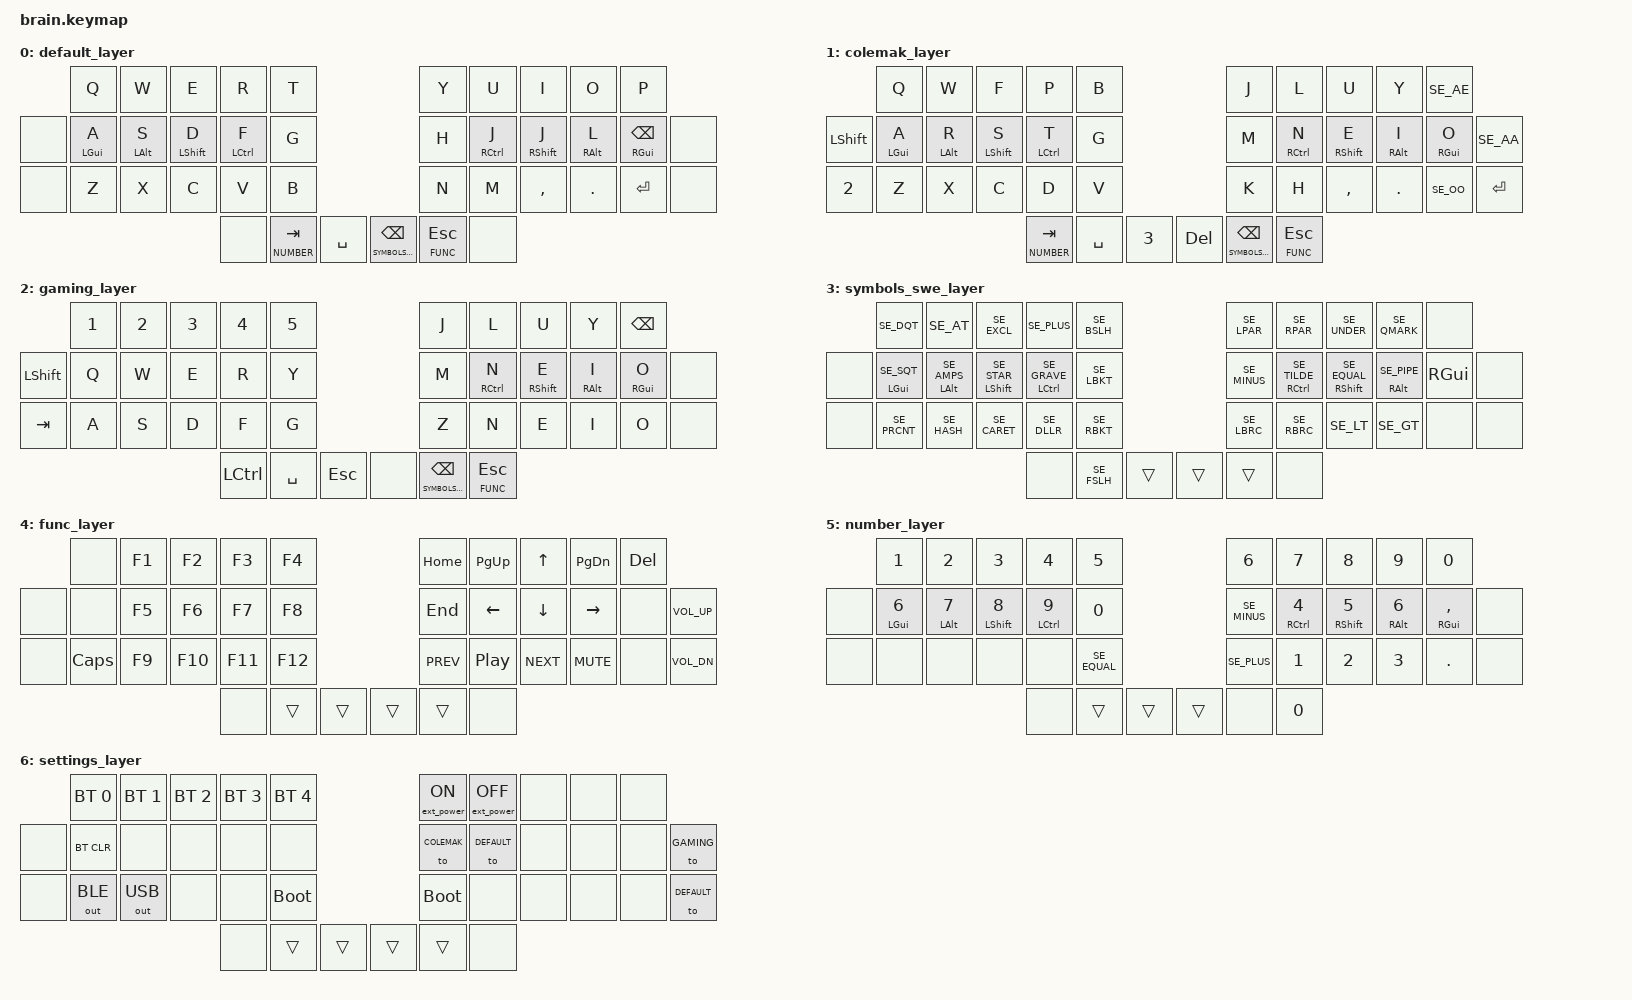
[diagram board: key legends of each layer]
/*
 * Copyright (c) 2020 The ZMK Contributors
 *
 * SPDX-License-Identifier: MIT
 */

#include <behaviors.dtsi>
#include <dt-bindings/zmk/keys.h>
#include <dt-bindings/zmk/bt.h>
#include <dt-bindings/zmk/outputs.h>
#include <dt-bindings/zmk/ext_power.h>
#include "swe_keys.h"

#define DEFAULT     0
#define COLEMAK     1
#define GAMING      2
#define SYMBOLS_SWE 3
#define FUNC        4
#define NUMBER      5
#define SETTINGS    6

/ {
    behaviors {
        hm: homerow_mods {
            compatible = "zmk,behavior-hold-tap";
            label = "HOMEROW_MODS";
            #binding-cells = <2>;
            tapping-term-ms = <200>;
            quick-tap-ms = <0>;
            flavor = "tap-preferred";
            bindings = <&kp>, <&kp>;
        };
        hs: homerow_mods_slow {
            compatible = "zmk,behavior-hold-tap";
            label = "HOMEROW_MODS_SLOW";
            #binding-cells = <2>;
            tapping-term-ms = <300>;
            quick-tap-ms = <0>;
            flavor = "tap-preferred";
            bindings = <&kp>, <&kp>;
        };
    };
    cond_layers {
        compatible = "zmk,conditional-layers";
        // Define SETTINGS layer as tri-state
        func_tristate {
            if-layers = <SYMBOLS_SWE FUNC>;
            then-layer = <SETTINGS>;
        };
    };

/*           40 Keys
╭─────────────────╮ ╭─────────────────╮
│    0  1  2  3  4│ │ 5  6  7  8  9   │
│10 11 12 13 14 15│ │16 17 18 19 20 21│
│22 23 24 25 26 27│ │28 29 30 31 32 33│
╰────────╮34 35 36│ │37 38 39╭────────╯
         ╰────────╯ ╰────────╯       */
/*    combos {
        compatible = "zmk,combos";

        combo_esc {
            timeout-ms = <50>;
            key-positions = <0 1>;
            bindings = <&kp ESC>;
        };
        combo_tab {
            timeout-ms = <50>;
            key-positions = <10 11>;
            bindings = <&kp TAB>;
        };
        combo_ralt {
            timeout-ms = <50>;
            key-positions = <17 16>;
            bindings = <&kp RALT>;
        };
        combo_lalt {
            timeout-ms = <50>;
            key-positions = <11 12>;
            bindings = <&kp LALT>;
        };
        combo_lgui {
            timeout-ms = <50>;
            key-positions = <12 13>;
            bindings = <&kp LGUI>;
        };
        combo_rgui {
            timeout-ms = <50>;
            key-positions = <17 18>;
            bindings = <&kp RGUI>;
        };
    }; */

    keymap {
        compatible = "zmk,keymap";

        default_layer {

            bindings = <
//          ┌────────────┬────────────┬────────────┬────────────┬───────────────┐                                 ┌─────────────┬────────────┬────────────┬────────────┬───────────────┐
//          │     Q      │     W      │     E      │     R      │       T       │                                 │      Y      │     U      │     I      │     O      │       P       │
//    ┌─────┼────────────┼────────────┼────────────┼────────────┼───────────────┤                                 ├─────────────┼────────────┼────────────┼────────────┼───────────────┼─────┐
//    │     │ &hs lgui A │ &hm lalt S │ &hm lsft D │ &hm lctl F │       G       │                                 │      H      │ &hm rctl J │ &hm rsft J │ &hm ralt L │ &hs rgui bspc │     │
//    ├─────┼────────────┼────────────┼────────────┼────────────┼───────────────┤                                 ├─────────────┼────────────┼────────────┼────────────┼───────────────┼─────┤
//    │     │     Z      │     X      │     C      │     V      │       B       │                                 │      N      │     M      │     ,      │     .      │      ent      │     │
//    └─────┴────────────┴────────────┴────────────┼────────────┼───────────────┼─────┐   ┌───────────────────────┼─────────────┼────────────┼────────────┴────────────┴───────────────┴─────┘
//                                                 │            │ lt NUMBER tab │ spc │   │ lt SYMBOlsft_SWE bspc │ lt FUNC esc │            │
//                                                 └────────────┴───────────────┴─────┘   └───────────────────────┴─────────────┴────────────┘
          &kp Q        &kp W        &kp E          &kp R         &kp T                                                   &kp Y          &kp U         &kp I          &kp O        &kp P
  &none   &hs LGUI A   &hm LALT S   &hm LSHIFT D   &hm LCTRL F   &kp G                                                   &kp H          &hm RCTRL J   &hm RSHIFT J   &hm RALT L   &hs RGUI BSPC   &none
  &none   &kp Z        &kp X        &kp C          &kp V         &kp B                                                   &kp N          &kp M         &kp COMMA      &kp DOT      &kp ENTER       &none
                                                   &none         &lt NUMBER TAB   &kp SPACE       &lt SYMBOLS_SWE BSPC   &lt FUNC ESC   &none
            >;
        };

        colemak_layer {
            bindings = <
//           ┌────────────┬────────────┬────────────┬───────────────┬─────┐             ┌───────────────────────┬─────────────┬────────────┬────────────┬────────────┐
//           │     Q      │     W      │     F      │       P       │  B  │             │           J           │      L      │     U      │     Y      │   SE_AE    │
//    ┌──────┼────────────┼────────────┼────────────┼───────────────┼─────┤             ├───────────────────────┼─────────────┼────────────┼────────────┼────────────┼───────┐
//    │ lsft │ &hs lgui A │ &hm lalt R │ &hm lsft S │  &hm lctl T   │  G  │             │           M           │ &hm rctl N  │ &hm rsft E │ &hm ralt I │ &hs rgui O │ SE_AA │
//    ├──────┼────────────┼────────────┼────────────┼───────────────┼─────┤             ├───────────────────────┼─────────────┼────────────┼────────────┼────────────┼───────┤
//    │  2   │     Z      │     X      │     C      │       D       │  V  │             │           K           │      H      │     ,      │     .      │   SE_OO    │  ent  │
//    └──────┴────────────┴────────────┴────────────┼───────────────┼─────┼───┐   ┌─────┼───────────────────────┼─────────────┼────────────┴────────────┴────────────┴───────┘
//                                                  │ lt NUMBER tab │ spc │ 3 │   │ del │ lt SYMBOlsft_SWE bspc │ lt FUNC esc │
//                                                  └───────────────┴─────┴───┘   └─────┴───────────────────────┴─────────────┘
               &kp Q        &kp W        &kp F          &kp P            &kp B                              &kp J                  &kp L          &kp U          &kp Y        &kp SE_AE
  &kp LSHIFT   &hs LGUI A   &hm LALT R   &hm LSHIFT S   &hm LCTRL T      &kp G                              &kp M                  &hm RCTRL N    &hm RSHIFT E   &hm RALT I   &hs RGUI O   &kp SE_AA
  &kp N2       &kp Z        &kp X        &kp C          &kp D            &kp V                              &kp K                  &kp H          &kp COMMA      &kp DOT      &kp SE_OO    &kp ENTER
                                                        &lt NUMBER TAB   &kp SPACE   &kp N3       &kp DEL   &lt SYMBOLS_SWE BSPC   &lt FUNC ESC
            >;
        };

        gaming_layer {
            bindings = <
//           ┌───┬───┬───┬──────┬─────┐               ┌───────────────────────┬─────────────┬────────────┬────────────┬────────────┐
//           │ 1 │ 2 │ 3 │  4   │  5  │               │           J           │      L      │     U      │     Y      │    bspc    │
//    ┌──────┼───┼───┼───┼──────┼─────┤               ├───────────────────────┼─────────────┼────────────┼────────────┼────────────┼─────┐
//    │ lsft │ Q │ W │ E │  R   │  Y  │               │           M           │ &hm rctl N  │ &hm rsft E │ &hm ralt I │ &hs rgui O │     │
//    ├──────┼───┼───┼───┼──────┼─────┤               ├───────────────────────┼─────────────┼────────────┼────────────┼────────────┼─────┤
//    │ tab  │ A │ S │ D │  F   │  G  │               │           Z           │      N      │     E      │     I      │     O      │     │
//    └──────┴───┴───┴───┼──────┼─────┼─────┐   ┌─────┼───────────────────────┼─────────────┼────────────┴────────────┴────────────┴─────┘
//                       │ lctl │ spc │ esc │   │     │ lt SYMBOlsft_SWE bspc │ lt FUNC esc │
//                       └──────┴─────┴─────┘   └─────┴───────────────────────┴─────────────┘
               &kp N1   &kp N2   &kp N3   &kp N4      &kp N5                            &kp J                  &kp L          &kp U          &kp Y        &kp BSPC
  &kp LSHIFT   &kp Q    &kp W    &kp E    &kp R       &kp Y                             &kp M                  &hm RCTRL N    &hm RSHIFT E   &hm RALT I   &hs RGUI O   &none
  &kp TAB      &kp A    &kp S    &kp D    &kp F       &kp G                             &kp Z                  &kp N          &kp E          &kp I        &kp O        &none
                                          &kp LCTRL   &kp SPACE   &kp ESC       &none   &lt SYMBOLS_SWE BSPC   &lt FUNC ESC
            >;
        };

        symbols_swe_layer {
            bindings = <
//          ┌───────────────┬───────────────┬───────────────┬───────────────┬──────┐               ┌──────┬───────────────┬───────────────┬───────────────┬──────┐
//          │     SE_"      │     SE_@      │     SE_!      │     SE_+      │ SE_\ │               │ SE_( │     SE_)      │     SE__      │     SE_?      │      │
//    ┌─────┼───────────────┼───────────────┼───────────────┼───────────────┼──────┤               ├──────┼───────────────┼───────────────┼───────────────┼──────┼─────┐
//    │     │ &hs lgui SE_' │ &hm lalt SE_& │ &hm lsft SE_* │ &hm lctl SE_` │ SE_[ │               │ SE_- │ &hm rctl SE_~ │ &hm rsft SE_= │ &hm ralt SE_| │ rgui │     │
//    ├─────┼───────────────┼───────────────┼───────────────┼───────────────┼──────┤               ├──────┼───────────────┼───────────────┼───────────────┼──────┼─────┤
//    │     │     SE_%      │     SE_#      │     SE_^      │     SE_$      │ SE_] │               │ SE_{ │     SE_}      │     SE_<      │     SE_>      │      │     │
//    └─────┴───────────────┴───────────────┴───────────────┼───────────────┼──────┼─────┐   ┌─────┼──────┼───────────────┼───────────────┴───────────────┴──────┴─────┘
//                                                          │               │ SE_/ │     │   │     │      │               │
//                                                          └───────────────┴──────┴─────┘   └─────┴──────┴───────────────┘
          &kp SE_DQT        &kp SE_AT          &kp SE_EXCL          &kp SE_PLUS          &kp SE_BSLH                         &kp SE_LPAR    &kp SE_RPAR          &kp SE_UNDER          &kp SE_QMARK       &none
  &none   &hs LGUI SE_SQT   &hm LALT SE_AMPS   &hm LSHIFT SE_STAR   &hm LCTRL SE_GRAVE   &kp SE_LBKT                         &kp SE_MINUS   &hm RCTRL SE_TILDE   &hm RSHIFT SE_EQUAL   &hm RALT SE_PIPE   &kp RGUI   &none
  &none   &kp SE_PRCNT      &kp SE_HASH        &kp SE_CARET         &kp SE_DLLR          &kp SE_RBKT                         &kp SE_LBRC    &kp SE_RBRC          &kp SE_LT             &kp SE_GT          &none      &none
                                                                    &none                &kp SE_FSLH   &trans       &trans   &trans         &none
            >;
        };

        func_layer {
            bindings = <
//          ┌──────┬────┬─────┬─────┬─────┐               ┌──────┬──────┬──────┬──────┬─────┐
//          │      │ f1 │ f2  │ f3  │ f4  │               │ home │ pgup │  up  │ pgdn │ del │
//    ┌─────┼──────┼────┼─────┼─────┼─────┤               ├──────┼──────┼──────┼──────┼─────┼──────┐
//    │     │      │ f5 │ f6  │ f7  │ f8  │               │ end  │ left │ down │ rght │     │ volu │
//    ├─────┼──────┼────┼─────┼─────┼─────┤               ├──────┼──────┼──────┼──────┼─────┼──────┤
//    │     │ caps │ f9 │ f10 │ f11 │ f12 │               │ prev │ play │ next │ mute │     │ vold │
//    └─────┴──────┴────┴─────┼─────┼─────┼─────┐   ┌─────┼──────┼──────┼──────┴──────┴─────┴──────┘
//                            │     │     │     │   │     │      │      │
//                            └─────┴─────┴─────┘   └─────┴──────┴──────┘
          &none      &kp F1   &kp F2    &kp F3    &kp F4                          &kp HOME     &kp PG_UP   &kp UP       &kp PG_DN    &kp DEL
  &none   &none      &kp F5   &kp F6    &kp F7    &kp F8                          &kp END      &kp LEFT    &kp DOWN     &kp RIGHT    &none     &kp C_VOL_UP
  &none   &kp CAPS   &kp F9   &kp F10   &kp F11   &kp F12                         &kp C_PREV   &kp C_PP    &kp C_NEXT   &kp K_MUTE   &none     &kp C_VOL_DN
                                        &none     &trans    &trans       &trans   &trans       &none
            >;
        };

        number_layer {
            bindings = <
//          ┌────────────┬────────────┬────────────┬────────────┬──────┐               ┌──────┬────────────┬────────────┬────────────┬────────────┐
//          │     1      │     2      │     3      │     4      │  5   │               │  6   │     7      │     8      │     9      │     0      │
//    ┌─────┼────────────┼────────────┼────────────┼────────────┼──────┤               ├──────┼────────────┼────────────┼────────────┼────────────┼─────┐
//    │     │ &hs lgui 6 │ &hm lalt 7 │ &hm lsft 8 │ &hm lctl 9 │  0   │               │ SE_- │ &hm rctl 4 │ &hm rsft 5 │ &hm ralt 6 │ &hm rgui , │     │
//    ├─────┼────────────┼────────────┼────────────┼────────────┼──────┤               ├──────┼────────────┼────────────┼────────────┼────────────┼─────┤
//    │     │            │            │            │            │ SE_= │               │ SE_+ │     1      │     2      │     3      │     .      │     │
//    └─────┴────────────┴────────────┴────────────┼────────────┼──────┼─────┐   ┌─────┼──────┼────────────┼────────────┴────────────┴────────────┴─────┘
//                                                 │            │      │     │   │     │      │     0      │
//                                                 └────────────┴──────┴─────┘   └─────┴──────┴────────────┘
          &kp N1        &kp N2        &kp N3          &kp N4         &kp N5                               &kp N6         &kp N7         &kp N8          &kp N9        &kp N0
  &none   &hs LGUI N6   &hm LALT N7   &hm LSHIFT N8   &hm LCTRL N9   &kp N0                               &kp SE_MINUS   &hm RCTRL N4   &hm RSHIFT N5   &hm RALT N6   &hm RGUI COMMA   &none
  &none   &none         &none         &none           &none          &kp SE_EQUAL                         &kp SE_PLUS    &kp N1         &kp N2          &kp N3        &kp DOT          &none
                                                      &none          &trans         &trans       &trans   &none          &kp N0
            >;
        };

        settings_layer {
            bindings = <
//          ┌──────────┬──────────┬──────────┬──────────┬──────────┐               ┌───────────┬───────────┬─────┬─────┬─────┐
//          │ bt_sel 0 │ bt_sel 1 │ bt_sel 2 │ bt_sel 3 │ bt_sel 4 │               │ epwr_ on  │ epwr_ on  │     │     │     │
//    ┌─────┼──────────┼──────────┼──────────┼──────────┼──────────┤               ├───────────┼───────────┼─────┼─────┼─────┼───────────┐
//    │     │  bt_clr  │          │          │          │          │               │ to QWERTY │ to DEFAU< │     │     │     │ to GAMING │
//    ├─────┼──────────┼──────────┼──────────┼──────────┼──────────┤               ├───────────┼───────────┼─────┼─────┼─────┼───────────┤
//    │     │ out_ ble │ out_ usb │          │          │   boot   │               │   boot    │           │     │     │     │ to DEFAU< │
//    └─────┴──────────┴──────────┴──────────┼──────────┼──────────┼─────┐   ┌─────┼───────────┼───────────┼─────┴─────┴─────┴───────────┘
//                                           │          │          │     │   │     │           │           │
//                                           └──────────┴──────────┴─────┘   └─────┴───────────┴───────────┘
          &bt BT_SEL 0   &bt BT_SEL 1   &bt BT_SEL 2   &bt BT_SEL 3   &bt BT_SEL 4                         &ext_power EP_ON   &ext_power EP_OFF   &none   &none   &none
  &none   &bt BT_CLR     &none          &none          &none          &none                                &to COLEMAK        &to DEFAULT         &none   &none   &none   &to GAMING
  &none   &out OUT_BLE   &out OUT_USB   &none          &none          &bootloader                          &bootloader        &none               &none   &none   &none   &to DEFAULT
                                                       &none          &trans         &trans       &trans   &trans             &none
            >;
        };
    };
};

